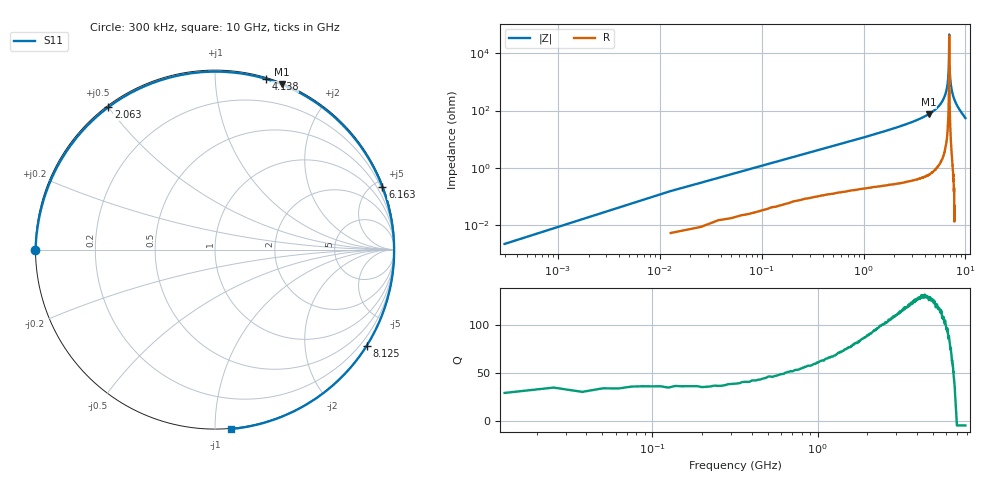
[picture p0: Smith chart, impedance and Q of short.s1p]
!Agilent Technologies,N5230A,MY45001695,A.07.50.67
!Agilent N5230A: A.07.50.67
!Date: Thursday, August 18, 2016 06:58:48
!Correction: S11(Full 1 Port(1))
!S1P File: Measurement: S11:
# Hz S  dB  R 50
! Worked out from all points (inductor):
!   801 points, 300 kHz to 10 GHz, reference 50 ohm
!   read as one part to ground: L = 1.89 nH near 50.3 MHz
!   highest Q = 130 at 4.35 GHz (marker M1), where L = 2.71 nH
!   self-resonance near 6.925 GHz
!   S11 on the Smith chart (normalised r, x): 300 kHz: -0.00, -0.00; 2.063 GHz: 0.01, +0.50; 4.138 GHz: 0.01, +1.34; 6.163 GHz: 0.06, +5.50; 8.125 GHz: -0.00, -3.45; 10 GHz: -0.00, -1.10
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300000  0.00 -180.0
6.252812e8  -0.05 163.7
1.250262e9  -0.07 147.6
1.65025e9  -0.07 137.4
2.062738e9  -0.08 126.8
2.500225e9  -0.08 115.6
2.825215e9  -0.08 107.2
3.125206e9  -0.08 99.5
3.437697e9  -0.07 91.5
3.750188e9  -0.07 83.5
4.137676e9  -0.06 73.5
4.35017e9  -0.06 68.0
4.67516e9  -0.06 59.6
5.00015e9  -0.05 51.1
5.600132e9  -0.04 35.4
6.162615e9  -0.03 20.6
6.250112e9  -0.03 18.3
6.562603e9  -0.03 10.0
6.875094e9  -0.02 1.6
7.187584e9  -0.01 -6.8
7.500075e9  -0.01 -15.2
7.812566e9  -0.00 -23.8
8.125056e9  0.01 -32.3
8.750038e9  0.01 -49.6
9.075028e9  0.02 -58.7
9.387518e9  0.02 -67.5
9.700009e9  0.03 -76.3
1e10  0.03 -84.8
